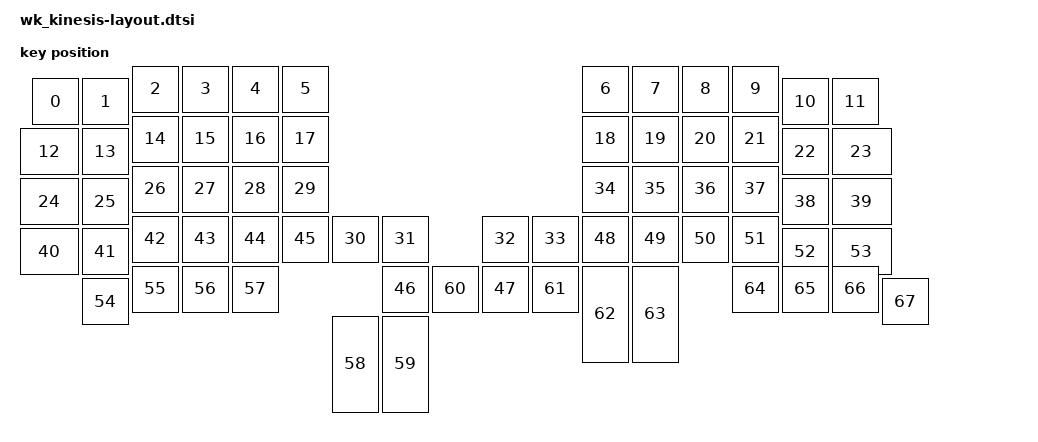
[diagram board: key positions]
#include <physical_layouts.dtsi>

/ {
        wk_kinesis_layout:wk_kinesis_layout {
        compatible = "zmk,physical-layout";
        display-name = "WK 360 Wireless";
        transform = <&default_transform>;
         keys  //                   w   h     x    y      rot    rx    ry
                //row1
            = <&key_physical_attrs 100 100   25    25      0     0     0>
            , <&key_physical_attrs 100 100  125    25      0     0     0>
            , <&key_physical_attrs 100 100  225    0       0     0     0>
            , <&key_physical_attrs 100 100  325    0       0     0     0>
            , <&key_physical_attrs 100 100  425    0       0     0     0>
            , <&key_physical_attrs 100 100  525    0       0     0     0>
            , <&key_physical_attrs 100 100  1125   0       0     0     0>
            , <&key_physical_attrs 100 100  1225   0       0     0     0>
            , <&key_physical_attrs 100 100  1325   0       0     0     0>
            , <&key_physical_attrs 100 100  1425   0       0     0     0>
            , <&key_physical_attrs 100 100  1525   25      0     0     0>
            , <&key_physical_attrs 100 100  1625   25      0     0     0>
                //row2
            , <&key_physical_attrs 125 100  0     125      0     0     0>
            , <&key_physical_attrs 100 100  125   125      0     0     0>
            , <&key_physical_attrs 100 100  225   100      0     0     0>
            , <&key_physical_attrs 100 100  325   100      0     0     0>
            , <&key_physical_attrs 100 100  425   100      0     0     0>
            , <&key_physical_attrs 100 100  525   100      0     0     0>
            , <&key_physical_attrs 100 100  1125  100      0     0     0>
            , <&key_physical_attrs 100 100  1225  100      0     0     0>
            , <&key_physical_attrs 100 100  1325  100      0     0     0>
            , <&key_physical_attrs 100 100  1425  100      0     0     0>
            , <&key_physical_attrs 100 100  1525  125      0     0     0>
            , <&key_physical_attrs 125 100  1625  125      0     0     0>
                //row3
            , <&key_physical_attrs 125 100  0     225      0     0     0>
            , <&key_physical_attrs 100 100  125   225      0     0     0>
            , <&key_physical_attrs 100 100  225   200      0     0     0>
            , <&key_physical_attrs 100 100  325   200      0     0     0>
            , <&key_physical_attrs 100 100  425   200      0     0     0>
            , <&key_physical_attrs 100 100  525   200      0     0     0>
            , <&key_physical_attrs 100 100  625   300      0     0     0>
            , <&key_physical_attrs 100 100  725   300      0     0     0>
            , <&key_physical_attrs 100 100  925   300      0     0     0>
            , <&key_physical_attrs 100 100  1025  300      0     0     0>
            , <&key_physical_attrs 100 100  1125  200      0     0     0>
            , <&key_physical_attrs 100 100  1225  200      0     0     0>
            , <&key_physical_attrs 100 100  1325  200      0     0     0>
            , <&key_physical_attrs 100 100  1425  200      0     0     0>
            , <&key_physical_attrs 100 100  1525  225      0     0     0>
            , <&key_physical_attrs 125 100  1625  225      0     0     0>
                //row4
            , <&key_physical_attrs 125 100  0     325      0     0     0>
            , <&key_physical_attrs 100 100  125   325      0     0     0>
            , <&key_physical_attrs 100 100  225   300      0     0     0>
            , <&key_physical_attrs 100 100  325   300      0     0     0>
            , <&key_physical_attrs 100 100  425   300      0     0     0>
            , <&key_physical_attrs 100 100  525   300      0     0     0>
            , <&key_physical_attrs 100 100  725   400      0     0     0>
            , <&key_physical_attrs 100 100  925   400      0     0     0>
            , <&key_physical_attrs 100 100  1125  300      0     0     0>
            , <&key_physical_attrs 100 100  1225  300      0     0     0>
            , <&key_physical_attrs 100 100  1325  300      0     0     0>
            , <&key_physical_attrs 100 100  1425  300      0     0     0>
            , <&key_physical_attrs 100 100  1525  325      0     0     0>
            , <&key_physical_attrs 125 100  1625  325      0     0     0>
                //row5
            , <&key_physical_attrs 100 100  125   425      0     0     0>
            , <&key_physical_attrs 100 100  225   400      0     0     0>
            , <&key_physical_attrs 100 100  325   400      0     0     0>
            , <&key_physical_attrs 100 100  425   400      0     0     0>
            , <&key_physical_attrs 100 200  625   500      0     0     0>
            , <&key_physical_attrs 100 200  725   500      0     0     0>
            , <&key_physical_attrs 100 100  825   400      0     0     0>
            , <&key_physical_attrs 100 100  1025  400      0     0     0>
            , <&key_physical_attrs 100 200  1125  400      0     0     0>
            , <&key_physical_attrs 100 200  1225  400      0     0     0>
            , <&key_physical_attrs 100 100  1425  400      0     0     0>
            , <&key_physical_attrs 100 100  1525  400      0     0     0>
            , <&key_physical_attrs 100 100  1625  400      0     0     0>
            , <&key_physical_attrs 100 100  1725  425      0     0     0>
            ;
    };
};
